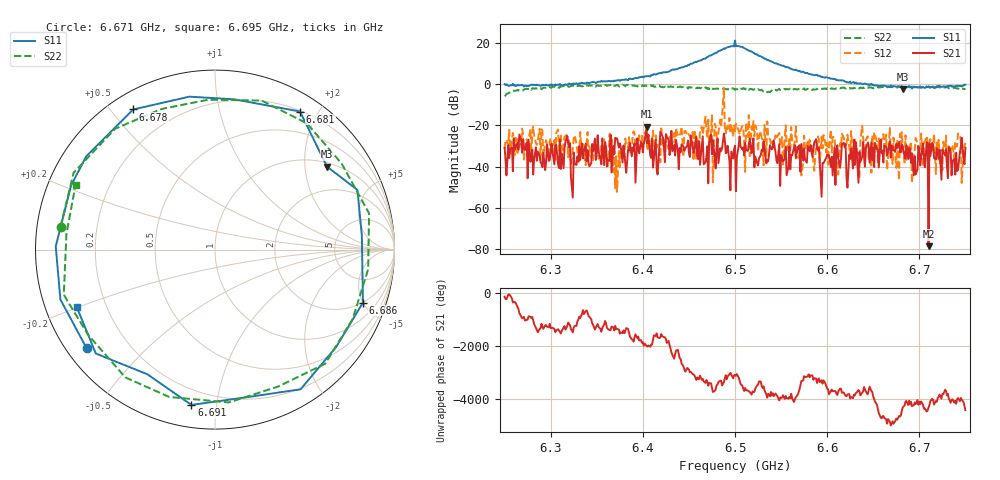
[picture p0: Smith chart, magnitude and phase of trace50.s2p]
# Hz S RI R 50
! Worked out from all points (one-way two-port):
!   401 points, 6.25 GHz to 6.75 GHz, reference 50 ohm
!   highest |S21| = -20.63 dB at 6.404 GHz (marker M1); lowest = -78.6 dB at 6.71 GHz (marker M2)
!   lowest |S11| = -2.2 dB at 6.682 GHz (marker M3), VSWR 7.95, Z = 55.8 + j130 ohm
!   |S11| at or under -10 dB: nowhere
!   |S22| runs from -5.8 to 0.0 dB; largest |S21 - S12| = 0.88
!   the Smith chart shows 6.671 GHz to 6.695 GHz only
!   S11 on the Smith chart (normalised r, x): 6.671 GHz: 0.06, -0.34; 6.678 GHz: 0.07, +0.57; 6.681 GHz: 0.21, +1.77; 6.686 GHz: 1.98, -5.00; 6.691 GHz: 0.12, -0.85; 6.695 GHz: 0.09, -0.20
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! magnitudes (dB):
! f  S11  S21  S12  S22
! 6.25 GHz  0.1  -30.7  -31.5  -5.8
! 6.319 GHz  0.2  -29.1  -35.4  -0.9
! 6.325 GHz  0.4  -33.1  -26.3  -1.0
! 6.334 GHz  0.8  -28.7  -35.0  -1.0
! 6.358 GHz  1.5  -39.3  -26.8  -0.6
! 6.37 GHz  1.7  -26.0  -50.5  -0.8
! 6.38 GHz  2.1  -33.9  -35.8  -0.5
! 6.404 GHz  3.9  -20.6  -24.8  -0.8
! 6.418 GHz  5.5  -29.9  -30.8  -0.6
! 6.5 GHz  21.3  -29.8  -23.5  -2.7
! 6.584 GHz  4.7  -35.3  -30.7  -2.7
! 6.595 GHz  3.5  -38.2  -31.1  -2.1
! 6.668 GHz  -1.3  -27.7  -21.2  -1.3
! 6.671 GHz  -0.9  -30.2  -38.7  -1.2
! 6.678 GHz  -0.9  -28.1  -46.5  -1.2
! 6.681 GHz  -0.9  -29.2  -23.2  -1.1
! 6.682 GHz  -2.2  -30.0  -30.6  -1.3
! 6.686 GHz  -1.2  -29.6  -37.1  -1.5
! 6.691 GHz  -1.2  -38.2  -27.9  -1.4
! 6.695 GHz  -1.6  -34.9  -32.4  -1.3
! 6.71 GHz  -1.0  -78.6  -32.4  -1.2
! 6.75 GHz  -0.2  -30.8  -28.4  -2.0
